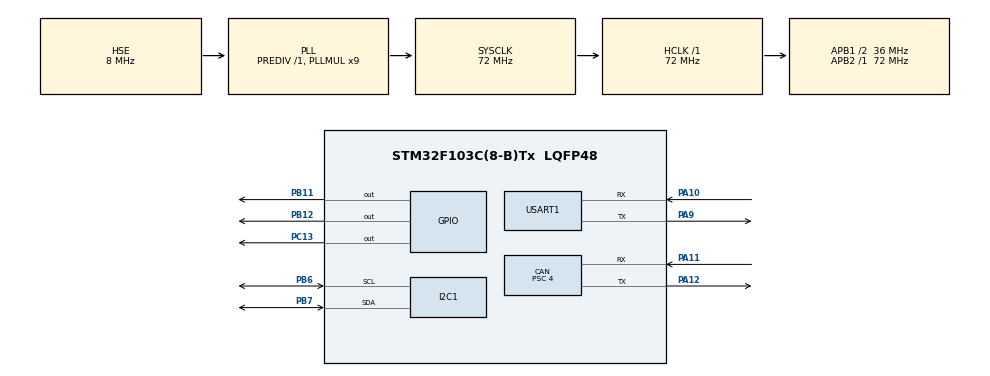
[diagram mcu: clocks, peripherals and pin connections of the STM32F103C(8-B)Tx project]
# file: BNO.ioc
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CAN.BS1=CAN_BS1_15TQ
CAN.BS2=CAN_BS2_2TQ
CAN.CalculateBaudRate=500000
CAN.CalculateTimeBit=2000
CAN.CalculateTimeQuantum=111.11111111111111
CAN.Prescaler=4
Mcu.Family=STM32F1
Mcu.Name=STM32F103C(8-B)Tx
Mcu.Package=LQFP48
NVIC.PriorityGroup=NVIC_PRIORITYGROUP_4
NVIC.USB_HP_CAN1_TX_IRQn=true\:0\:0\:false\:false\:true\:true\:true\:true
NVIC.USB_LP_CAN1_RX0_IRQn=true\:0\:0\:false\:false\:true\:true\:true\:true
PA10.Mode=Asynchronous
PA10.Signal=USART1_RX
PA11.Mode=CAN_Activate
PA11.Signal=CAN_RX
PA12.Mode=CAN_Activate
PA12.Signal=CAN_TX
PA13.Mode=Serial_Wire
PA13.Signal=SYS_JTMS-SWDIO
PA14.Mode=Serial_Wire
PA14.Signal=SYS_JTCK-SWCLK
PA9.Mode=Asynchronous
PA9.Signal=USART1_TX
PB11.GPIO_PuPd=GPIO_NOPULL
PB11.PinState=GPIO_PIN_SET
PB11.Signal=GPIO_Output
PB12.GPIO_PuPd=GPIO_PULLUP
PB12.PinState=GPIO_PIN_SET
PB12.Signal=GPIO_Output
PB6.Mode=I2C
PB6.Signal=I2C1_SCL
PB7.Mode=I2C
PB7.Signal=I2C1_SDA
PC13-TAMPER-RTC.Signal=GPIO_Output
PD0-OSC_IN.Mode=HSE-External-Oscillator
PD0-OSC_IN.Signal=RCC_OSC_IN
PD1-OSC_OUT.Mode=HSE-External-Oscillator
PD1-OSC_OUT.Signal=RCC_OSC_OUT
ProjectManager.HeapSize=0x200
ProjectManager.StackSize=0x400
ProjectManager.TargetToolchain=STM32CubeIDE
RCC.AHBFreq_Value=72000000
RCC.APB1CLKDivider=RCC_HCLK_DIV2
RCC.APB1Freq_Value=36000000
RCC.APB1TimFreq_Value=72000000
RCC.APB2Freq_Value=72000000
RCC.APB2TimFreq_Value=72000000
RCC.HCLKFreq_Value=72000000
RCC.PLLMUL=RCC_PLL_MUL9
RCC.PLLSourceVirtual=RCC_PLLSOURCE_HSE
RCC.SYSCLKFreq_VALUE=72000000
RCC.SYSCLKSource=RCC_SYSCLKSOURCE_PLLCLK
RCC.USBFreq_Value=72000000
TIM3.Period=99
TIM3.Prescaler=7199
USART1.VirtualMode=VM_ASYNC
VP_TIM3_VS_ClockSourceINT.Mode=Internal
board=custom

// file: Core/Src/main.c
/* USER CODE BEGIN Header */
/**
 ******************************************************************************
 * @file           : main.c
 * @brief          : Main program body
 ******************************************************************************
 * @attention
 *
 * Copyright (c) 2023 STMicroelectronics.
 * All rights reserved.
 *
 * This software is licensed under terms that can be found in the LICENSE file
 * in the root directory of this software component.
 * If no LICENSE file comes with this software, it is provided AS-IS.
 *
 ******************************************************************************
 */
/* USER CODE END Header */
#include "main.h"
#include "can.h"
#include "i2c.h"
#include "tim.h"
#include "usart.h"
#include "gpio.h"

/* USER CODE BEGIN Includes */
#include "bno055.h"
#include "bno_config.h"
#include <stdio.h>
#include "Calib.h"
#include <string.h>
#include "CAN_OSI.h"
#include <math.h>
#include "BNOStatemachine.h"
/* USER CODE END Includes */

/* USER CODE BEGIN PV */
bno055_t bno;
error_bno err;
EulerCalib Eulcalib;
AccCalib AcceCalib;
BNO_State currentState;
ErrCounter ErrCnt;
CANBufferHandleStruct ApplicationBuff;
CANConfigIDTxtypedef pIDtype;
/* USER CODE END PV */

void SystemClock_Config(void);

/* USER CODE BEGIN 0 */
uint8_t Data[8];
uint8_t Yaw[4];
bno055_euler_t eul = { 0, 0, 0 };
bno055_vec3_t acc = {0, 0, 0};
uint8_t AccX;
uint8_t AccY;
/* USER CODE END 0 */

int main(void)
{

  /* MCU Configuration--------------------------------------------------------*/

  /* Reset of all peripherals, Initializes the Flash interface and the Systick. */
  HAL_Init();

  /* Configure the system clock */
  SystemClock_Config();

  /* Initialize all configured peripherals */
  MX_GPIO_Init();
  MX_I2C1_Init();
  MX_USART1_UART_Init();
  MX_CAN_Init();
  MX_TIM3_Init();
  /* USER CODE BEGIN 2 */
currentState=BNO_INIT;
if(currentState==BNO_INIT){
  CAN_Config_filtering(0);
  if(HAL_CAN_ActivateNotification(&hcan, CAN_IT_TX_MAILBOX_EMPTY|CAN_IT_RX_FIFO0_MSG_PENDING)!=HAL_OK){
	  HAL_GPIO_WritePin(GPIOB, GPIO_PIN_12,GPIO_PIN_RESET);
	  HAL_Delay(2000);
	  NVIC_SystemReset();
   }
    if(HAL_CAN_Start(&hcan)!=HAL_OK){
    	HAL_GPIO_WritePin(GPIOB, GPIO_PIN_12,GPIO_PIN_RESET);
    	HAL_Delay(2000);
    	NVIC_SystemReset();
   }
	bno = (bno055_t ) { .i2c = &hi2c1, .addr = BNO_ADDR, .mode = BNO_MODE_IMU,
					._temp_unit = 0,
			};
	HAL_Delay(1000);
	if ((err = bno055_init(&bno)) == BNO_OK) {
		HAL_Delay(100);
	} else {
		HAL_GPIO_WritePin(GPIOB, GPIO_PIN_12,GPIO_PIN_RESET);
		HAL_Delay(2000);
		NVIC_SystemReset();
	}
	HAL_Delay(100);
	err = bno055_set_unit(&bno, BNO_TEMP_UNIT_C, BNO_GYR_UNIT_DPS,
			BNO_ACC_UNITSEL_M_S2, BNO_EUL_UNIT_DEG);
	if (err != BNO_OK) {
		HAL_GPIO_WritePin(GPIOB, GPIO_PIN_12,GPIO_PIN_RESET);
		HAL_Delay(2000);
		NVIC_SystemReset();
	} else {
		HAL_GPIO_WritePin(GPIOB, GPIO_PIN_11,GPIO_PIN_RESET);
		currentState=BNO_GETDATA;
	}
	bno055_vec3_t acc = {0, 0, 0};
	memset(Data,0x55,8);
	CANBufferHandleStruct_Init(&ApplicationBuff);
	pIDtype.MessageType=0;
	pIDtype.SenderID=0x305;
	HAL_Delay(1000);
}
  /* USER CODE END 2 */

  /* Infinite loop */
	while (1) {

    /* USER CODE BEGIN 3 */
//		bno.acc(&bno, &acc);
//		 printf("[+] ACC - x: %+2.2f | y: %+2.2f | z: %+2.2f\r\n", acc.x, acc.y,
//		               acc.z);
//			      bno.euler(&bno, &eul);
//				  if (eul.yaw > 180) {
//					  eul.yaw = -(360 - eul.yaw);
//				  }
//
//				  float2Bytes(Data,eul.yaw);
//				  CAN_HandleSendData(0x302,Data, 8);
				  switch (currentState) {
				              case BNO_GETDATA:
				            	  BNO_GetData();
				                  break;
				              case BNO_CHECK_SIGNAL:
				            	  BNO_CheckSignal();
				            	  break;
				              case BNO_RECOVERY:
				            	  BNO_Recovery();
				                  break;
				              case BNO_SEND_ERROR:
				            	  BNO_SendError();
				                  break;
				              case BNO_SEND_DATA:
				            	  BNO_SendData();
				                  break;
				          }
			HAL_Delay(10);
	}
  /* USER CODE END 3 */
}

void SystemClock_Config(void)
{
  RCC_OscInitTypeDef RCC_OscInitStruct = {0};
  RCC_ClkInitTypeDef RCC_ClkInitStruct = {0};

  /** Initializes the RCC Oscillators according to the specified parameters
  * in the RCC_OscInitTypeDef structure.
  */
  RCC_OscInitStruct.OscillatorType = RCC_OSCILLATORTYPE_HSE;
  RCC_OscInitStruct.HSEState = RCC_HSE_ON;
  RCC_OscInitStruct.HSEPredivValue = RCC_HSE_PREDIV_DIV1;
  RCC_OscInitStruct.HSIState = RCC_HSI_ON;
  RCC_OscInitStruct.PLL.PLLState = RCC_PLL_ON;
  RCC_OscInitStruct.PLL.PLLSource = RCC_PLLSOURCE_HSE;
  RCC_OscInitStruct.PLL.PLLMUL = RCC_PLL_MUL9;
  if (HAL_RCC_OscConfig(&RCC_OscInitStruct) != HAL_OK)
  {
    Error_Handler();
  }

  /** Initializes the CPU, AHB and APB buses clocks
  */
  RCC_ClkInitStruct.ClockType = RCC_CLOCKTYPE_HCLK|RCC_CLOCKTYPE_SYSCLK
                              |RCC_CLOCKTYPE_PCLK1|RCC_CLOCKTYPE_PCLK2;
  RCC_ClkInitStruct.SYSCLKSource = RCC_SYSCLKSOURCE_PLLCLK;
  RCC_ClkInitStruct.AHBCLKDivider = RCC_SYSCLK_DIV1;
  RCC_ClkInitStruct.APB1CLKDivider = RCC_HCLK_DIV2;
  RCC_ClkInitStruct.APB2CLKDivider = RCC_HCLK_DIV1;

  if (HAL_RCC_ClockConfig(&RCC_ClkInitStruct, FLASH_LATENCY_2) != HAL_OK)
  {
    Error_Handler();
  }
}

void Error_Handler(void)
{
	__disable_irq();
	while (1) {
	}
}
